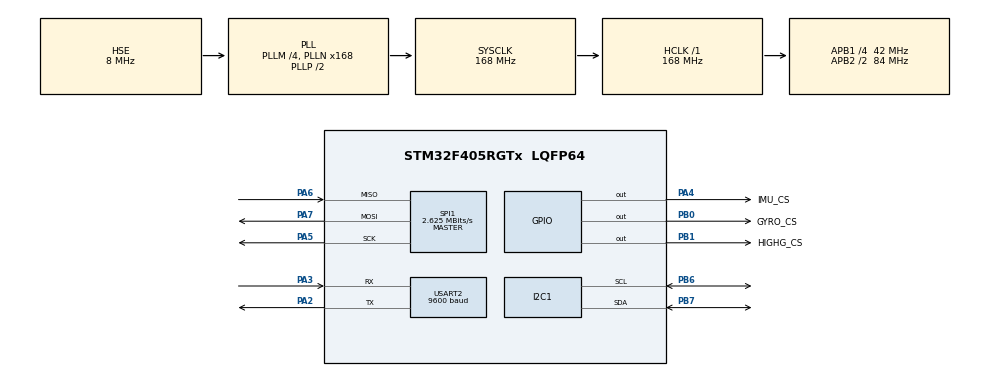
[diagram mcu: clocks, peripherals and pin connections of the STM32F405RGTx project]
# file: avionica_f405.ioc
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I2C1.I2C_Mode=I2C_Fast
Mcu.Family=STM32F4
Mcu.Name=STM32F405RGTx
Mcu.Package=LQFP64
NVIC.PriorityGroup=NVIC_PRIORITYGROUP_4
PA13.Mode=Serial_Wire
PA13.Signal=SYS_JTMS-SWDIO
PA14.Mode=Serial_Wire
PA14.Signal=SYS_JTCK-SWCLK
PA2.Mode=Asynchronous
PA2.Signal=USART2_TX
PA3.Mode=Asynchronous
PA3.Signal=USART2_RX
PA4.GPIO_Label=IMU_CS
PA4.PinState=GPIO_PIN_SET
PA4.Signal=GPIO_Output
PA5.Mode=Full_Duplex_Master
PA5.Signal=SPI1_SCK
PA6.Mode=Full_Duplex_Master
PA6.Signal=SPI1_MISO
PA7.Mode=Full_Duplex_Master
PA7.Signal=SPI1_MOSI
PB0.GPIO_Label=GYRO_CS
PB0.PinState=GPIO_PIN_SET
PB0.Signal=GPIO_Output
PB1.GPIO_Label=HIGHG_CS
PB1.PinState=GPIO_PIN_SET
PB1.Signal=GPIO_Output
PB6.Mode=I2C
PB6.Signal=I2C1_SCL
PB7.Mode=I2C
PB7.Signal=I2C1_SDA
PH0-OSC_IN.Mode=HSE-External-Oscillator
PH0-OSC_IN.Signal=RCC_OSC_IN
PH1-OSC_OUT.Mode=HSE-External-Oscillator
PH1-OSC_OUT.Signal=RCC_OSC_OUT
ProjectManager.HeapSize=0x200
ProjectManager.StackSize=0x400
ProjectManager.TargetToolchain=STM32CubeIDE
RCC.48MHZClocksFreq_Value=84000000
RCC.AHBFreq_Value=168000000
RCC.APB1CLKDivider=RCC_HCLK_DIV4
RCC.APB1Freq_Value=42000000
RCC.APB1TimFreq_Value=84000000
RCC.APB2CLKDivider=RCC_HCLK_DIV2
RCC.APB2Freq_Value=84000000
RCC.APB2TimFreq_Value=168000000
RCC.CortexFreq_Value=168000000
RCC.EnbaleCSS=true
RCC.HCLKFreq_Value=168000000
RCC.HSE_VALUE=8000000
RCC.HSI_VALUE=16000000
RCC.LSE_VALUE=32768
RCC.PLLM=4
RCC.PLLN=168
RCC.PLLSourceVirtual=RCC_PLLSOURCE_HSE
RCC.SYSCLKFreq_VALUE=168000000
RCC.SYSCLKSource=RCC_SYSCLKSOURCE_PLLCLK
RCC.VCOOutputFreq_Value=336000000
SPI1.BaudRatePrescaler=SPI_BAUDRATEPRESCALER_32
SPI1.CLKPhase=SPI_PHASE_2EDGE
SPI1.CLKPolarity=SPI_POLARITY_HIGH
SPI1.CalculateBaudRate=2.625 MBits/s
SPI1.Direction=SPI_DIRECTION_2LINES
SPI1.Mode=SPI_MODE_MASTER
SPI1.VirtualType=VM_MASTER
USART2.BaudRate=9600
USART2.VirtualMode=VM_ASYNC
board=custom

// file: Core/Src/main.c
/* USER CODE BEGIN Header */
/**
  ******************************************************************************
  * @file           : main.c
  * @brief          : Main program body
  ******************************************************************************
  * @attention
  *
  * Copyright (c) 2026 STMicroelectronics.
  * All rights reserved.
  *
  * This software is licensed under terms that can be found in the LICENSE file
  * in the root directory of this software component.
  * If no LICENSE file comes with this software, it is provided AS-IS.
  *
  ******************************************************************************
  */
/* USER CODE END Header */
#include "main.h"
#include "i2c.h"
#include "spi.h"
#include "usart.h"
#include "gpio.h"

/* USER CODE BEGIN Includes */
#include "bmi088.h"
#include "adxl375.h"
#include "ms5611.h"
#include "gps.h"

/* USER CODE END Includes */

/* USER CODE BEGIN PTD */
/* Últimas medidas de todos los sensores; se pueden ver en vivo con el depurador (Live Expressions). */
typedef struct
{
  float acc_g[3];      /* BMI088, ±24 g */
  float giro_dps[3];   /* BMI088, ±2000 °/s */
  float alta_g[3];     /* ADXL375, ±200 g */
  float presion_hpa;   /* MS5611 */
  float temp_c;        /* MS5611 */
  gps_t gps;           /* MAX-M10S */
} datos_vuelo_t;

/* Resultado de la comprobación de arranque: un bit por sensor que ha fallado. */
enum
{
  FALLO_BMI088  = 1 << 0,
  FALLO_ADXL375 = 1 << 1,
  FALLO_MS5611  = 1 << 2,
  FALLO_GPS     = 1 << 3,
};

/* USER CODE END PTD */

/* USER CODE BEGIN PD */
#define INTENTOS_BIT 3  /* intentos por sensor antes de declarar NO-GO */

/* USER CODE END PD */

/* USER CODE BEGIN PV */
datos_vuelo_t datos;
uint8_t fallos_bit;  /* 0 = GO; cualquier otro valor = NO-GO */

/* USER CODE END PV */

void SystemClock_Config(void);

/* USER CODE BEGIN 0 */
/* Llama a la función de inicio de un sensor hasta INTENTOS_BIT veces.
 * Cada intento reinicia el sensor, así que un fallo puntual del bus no impide el despegue. */
static bool comprobar(bool (*iniciar)(void))
{
  for (int i = 0; i < INTENTOS_BIT; i++)
    if (iniciar())
      return true;
  return false;
}

static bool iniciar_gps(void)
{
  return gps_init(&datos.gps);
}

/* USER CODE END 0 */

int main(void)
{

  /* MCU Configuration--------------------------------------------------------*/

  /* Reset of all peripherals, Initializes the Flash interface and the Systick. */
  HAL_Init();

  /* Configure the system clock */
  SystemClock_Config();

  /* Initialize all configured peripherals */
  MX_GPIO_Init();
  MX_I2C1_Init();
  MX_SPI1_Init();
  MX_USART2_UART_Init();
  /* USER CODE BEGIN 2 */
  /* Comprobación de arranque (BIT): todos los sensores deben responder o no se despega. */
  if (!comprobar(bmi088_init))
    fallos_bit |= FALLO_BMI088;
  if (!comprobar(adxl375_init))
    fallos_bit |= FALLO_ADXL375;
  if (!comprobar(ms5611_init))
    fallos_bit |= FALLO_MS5611;
  if (!comprobar(iniciar_gps))
    fallos_bit |= FALLO_GPS;

  if (fallos_bit != 0)
  {
    /* NO-GO: no se entra en el bucle de vuelo, así que nunca se armarán los paracaídas.
     * fallos_bit indica qué sensor ha fallado. */
    while (1)
    {
    }
  }

  /* USER CODE END 2 */

  /* Infinite loop */
  while (1)
  {

    /* USER CODE BEGIN 3 */
    /* GO: lectura continua de todos los sensores. */
    bmi088_leer(datos.acc_g, datos.giro_dps);
    adxl375_leer(datos.alta_g);
    ms5611_actualizar(&datos.presion_hpa, &datos.temp_c);
    gps_actualizar(&datos.gps);
  }
  /* USER CODE END 3 */
}

void SystemClock_Config(void)
{
  RCC_OscInitTypeDef RCC_OscInitStruct = {0};
  RCC_ClkInitTypeDef RCC_ClkInitStruct = {0};

  /** Configure the main internal regulator output voltage
  */
  __HAL_RCC_PWR_CLK_ENABLE();
  __HAL_PWR_VOLTAGESCALING_CONFIG(PWR_REGULATOR_VOLTAGE_SCALE1);

  /** Initializes the RCC Oscillators according to the specified parameters
  * in the RCC_OscInitTypeDef structure.
  */
  RCC_OscInitStruct.OscillatorType = RCC_OSCILLATORTYPE_HSE;
  RCC_OscInitStruct.HSEState = RCC_HSE_ON;
  RCC_OscInitStruct.PLL.PLLState = RCC_PLL_ON;
  RCC_OscInitStruct.PLL.PLLSource = RCC_PLLSOURCE_HSE;
  RCC_OscInitStruct.PLL.PLLM = 4;
  RCC_OscInitStruct.PLL.PLLN = 168;
  RCC_OscInitStruct.PLL.PLLP = RCC_PLLP_DIV2;
  RCC_OscInitStruct.PLL.PLLQ = 4;
  if (HAL_RCC_OscConfig(&RCC_OscInitStruct) != HAL_OK)
  {
    Error_Handler();
  }

  /** Initializes the CPU, AHB and APB buses clocks
  */
  RCC_ClkInitStruct.ClockType = RCC_CLOCKTYPE_HCLK|RCC_CLOCKTYPE_SYSCLK
                              |RCC_CLOCKTYPE_PCLK1|RCC_CLOCKTYPE_PCLK2;
  RCC_ClkInitStruct.SYSCLKSource = RCC_SYSCLKSOURCE_PLLCLK;
  RCC_ClkInitStruct.AHBCLKDivider = RCC_SYSCLK_DIV1;
  RCC_ClkInitStruct.APB1CLKDivider = RCC_HCLK_DIV4;
  RCC_ClkInitStruct.APB2CLKDivider = RCC_HCLK_DIV2;

  if (HAL_RCC_ClockConfig(&RCC_ClkInitStruct, FLASH_LATENCY_5) != HAL_OK)
  {
    Error_Handler();
  }

  /** Enables the Clock Security System
  */
  HAL_RCC_EnableCSS();
}

void Error_Handler(void)
{
  __disable_irq();
  while (1)
  {
  }
}
